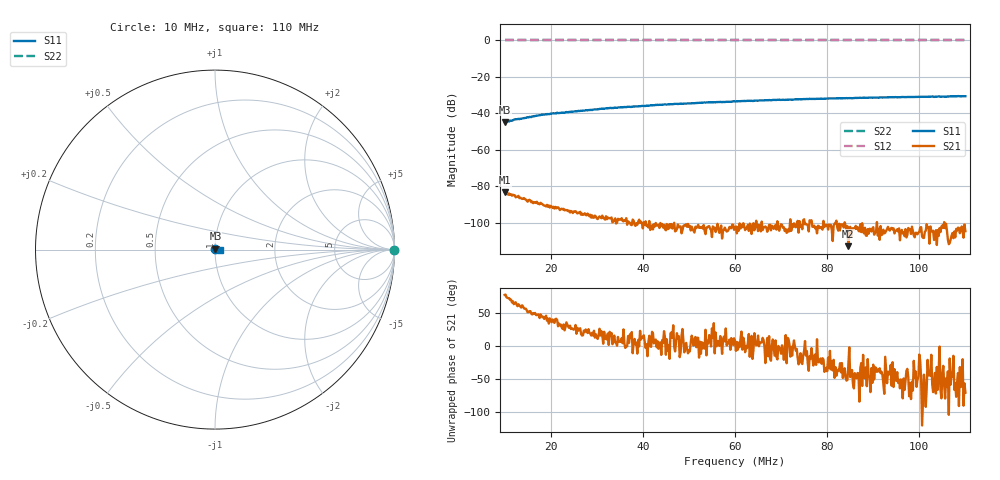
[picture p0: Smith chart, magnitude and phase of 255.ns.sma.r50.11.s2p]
! Anritsu VNA Master:  Model: MS2036C/10/77
! SN:  1601066
! /card0/usr/255.ns.sma.r50.11.s2p
! Existing Calibration Information:
! TYPE:  Current Settings,  Active Cal Settings
! TIME:  12/19/2017 07:05:10 PM,  12/19/2017 06:59:48 PM
! INTERNAL TEMP:  39.8 C,  39.3 C
! # POINTS:  501,  501
! START FREQ:  10.000 MHz,  10.000 MHz
! STOP FREQ:  110.000 MHz,  110.000 MHz
! SOURCE POWER:  High,  High
! IFBW:  100 Hz,  100 Hz
! AVG FACTOR:  1 ,  1
! REF PLANE 1:  0 mm,  0 mm
! REF PLANE 2:  0 mm,  0 mm
! CAL TYPE:  Full S11,  Full S11
! CAL METHOD:  SOLT,  SOLT
! CAL LINE TYPE:  Coax,  Coax
! DUT PORT 1:  N-Conn(F),  N-Conn(F)
! DUT PORT 2:  K-Conn(F),  K-Conn(F)
! CAL STATUS:  OK: Accuracy High,  --
# GHZ S DB R 50.0
! FREQ.GHZ  S11DB  S11A  S21DB  S21A  S12DB  S12A  S22DB  S22A
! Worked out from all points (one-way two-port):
!   501 points, 10 MHz to 110 MHz, reference 50 ohm
!   highest |S21| = -83.22 dB at 10 MHz (marker M1); lowest = -112.8 dB at 84.6 MHz (marker M2)
!   lowest |S11| = -44.7 dB at 10 MHz (marker M3), VSWR 1.01, Z = 50.2 + j0.533 ohm
!   |S11| at or under -10 dB: start of sweep to end of sweep
!   |S22| runs from 0.0 to 0.0 dB; largest |S21 - S12| = 1
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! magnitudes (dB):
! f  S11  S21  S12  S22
! 10 MHz  -44.7  -83.2  0.0  0.0
! 11.4 MHz  -43.9  -84.3  0.0  0.0
! 12.6 MHz  -43.2  -85.7  0.0  0.0
! 13.6 MHz  -42.9  -86.5  0.0  0.0
! 18 MHz  -40.7  -89.4  0.0  0.0
! 20.4 MHz  -40.0  -91.7  0.0  0.0
! 26.8 MHz  -38.5  -94.9  0.0  0.0
! 32.8 MHz  -37.0  -97.4  0.0  0.0
! 40.6 MHz  -35.9  -99.1  0.0  0.0
! 43.4 MHz  -35.3  -100.9  0.0  0.0
! 53.4 MHz  -33.9  -104.3  0.0  0.0
! 57.6 MHz  -33.7  -103.9  0.0  0.0
! 60 MHz  -33.4  -103.3  0.0  0.0
! 69.2 MHz  -32.5  -99.1  0.0  0.0
! 70.8 MHz  -32.6  -104.5  0.0  0.0
! 76.8 MHz  -32.1  -102.2  0.0  0.0
! 84.6 MHz  -31.6  -112.8  0.0  0.0
! 93.4 MHz  -31.1  -103.7  0.0  0.0
! 102.6 MHz  -30.7  -104.3  0.0  0.0
! 105.6 MHz  -30.8  -102.9  0.0  0.0
! 108.2 MHz  -30.6  -104.3  0.0  0.0
! 110 MHz  -30.6  -104.5  0.0  0.0
